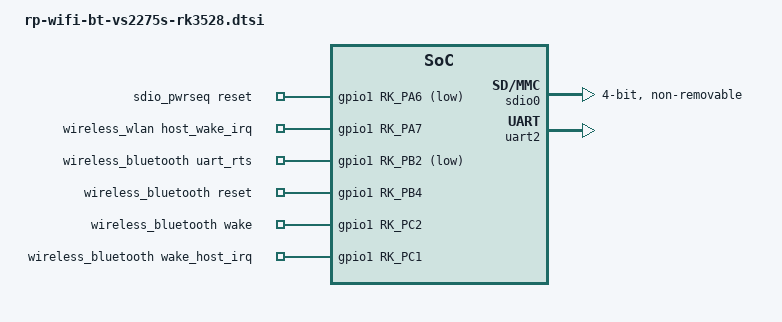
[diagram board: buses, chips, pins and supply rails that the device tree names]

/{
	sdio_pwrseq: sdio-pwrseq {
                compatible = "mmc-pwrseq-simple";
		clocks = <&hym8563 1>;
		clock-names = "ext_clock";
                pinctrl-names = "default";
                pinctrl-0 = <&wifi_enable_h>;

                /*
                 * On the module itself this is one of these (depending
                 * on the actual card populated):
                 * - SDIO_RESET_L_WL_REG_ON
                 * - PDN (power down when low)
                 */
                post-power-on-delay-ms = <100>;
                reset-gpios = <&gpio1 RK_PA6 GPIO_ACTIVE_LOW>;
        };

	wireless_wlan: wireless-wlan {
                compatible = "wlan-platdata";
                rockchip,grf = <&grf>;
                wifi_chip_type = "ap6275s";
                pinctrl-names = "default";
                pinctrl-0 = <&wifi_host_wake_irq>;
                WIFI,host_wake_irq = <&gpio1 RK_PA7 GPIO_ACTIVE_HIGH>;
                status = "okay";
        };

	wireless_bluetooth: wireless-bluetooth {
                compatible = "bluetooth-platdata";
                //wifi-bt-power-toggle;
                uart_rts_gpios = <&gpio1 RK_PB2 GPIO_ACTIVE_LOW>;
                pinctrl-names = "default", "rts_gpio";
                pinctrl-0 = <&uart2m1_rtsn>, <&bt_gpio>;
                pinctrl-1 = <&uart2m1_gpios>;
                BT,reset_gpio    = <&gpio1 RK_PB4 GPIO_ACTIVE_HIGH>;
                BT,wake_gpio     = <&gpio1 RK_PC2 GPIO_ACTIVE_HIGH>;
                BT,wake_host_irq = <&gpio1 RK_PC1 GPIO_ACTIVE_HIGH>;
                status = "okay";
        };
};


&sdio0 {
        max-frequency = <200000000>;
        no-sd;
        no-mmc;
        supports-sdio;
        bus-width = <4>;
        disable-wp;
        cap-sd-highspeed;
        cap-sdio-irq;
        keep-power-in-suspend;
        non-removable;
        mmc-pwrseq = <&sdio_pwrseq>;
        pinctrl-names = "default";
        pinctrl-0 = <&sdio0_bus4 &sdio0_cmd &sdio0_clk>;
        /delete-property/ rockchip,use-v2-tuning;
        sd-uhs-sdr104;
        status = "okay";
};

&uart2 {
        status = "okay";
        pinctrl-names = "default";
        pinctrl-0 = <&uart2m1_xfer &uart2m1_ctsn>;
};

&pinctrl {
	sdio-pwrseq {
                wifi_enable_h: wifi-enable-h {
                        rockchip,pins = <1 RK_PA6 RK_FUNC_GPIO &pcfg_pull_none>;
                };
        };

        wireless-wlan {
                wifi_host_wake_irq: wifi-host-wake-irq {
                        rockchip,pins = <1 RK_PA7 RK_FUNC_GPIO &pcfg_pull_down>;
                };
        };

        wireless-bluetooth {
		bt_gpio: bt-gpio {
                        rockchip,pins =
                                <1 RK_PB4 RK_FUNC_GPIO &pcfg_pull_none>,
                                <1 RK_PC2 RK_FUNC_GPIO &pcfg_pull_up>,
                                <1 RK_PC1 RK_FUNC_GPIO &pcfg_pull_down>;
                };

                uart2m1_gpios: uart2m1-gpios {
                        rockchip,pins = <1 RK_PB2 RK_FUNC_GPIO &pcfg_pull_none>;
                };
        };
};
